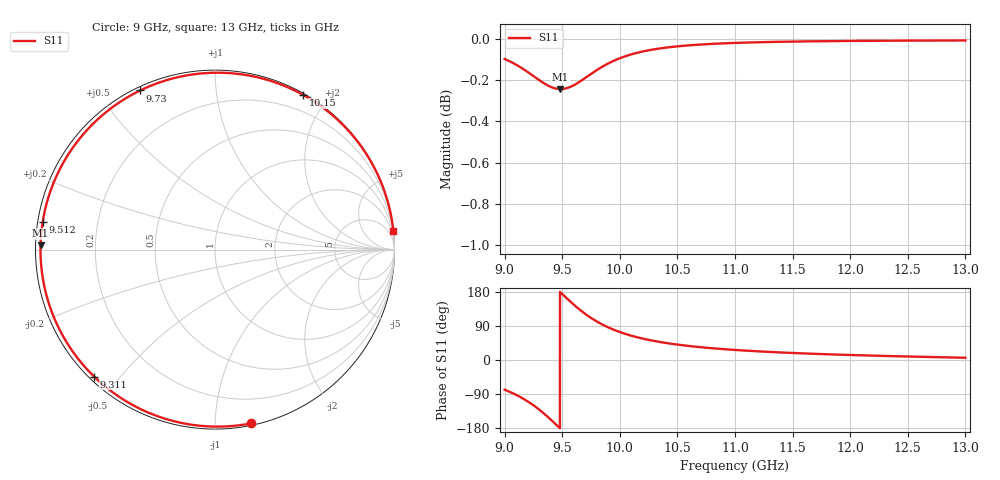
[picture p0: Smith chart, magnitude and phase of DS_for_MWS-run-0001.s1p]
! TOUCHSTONE file generated by CST DESIGN STUDIO
! Date and time: Tue Feb  4 12:20:43 2025
! Project name: C:\Work\MatlabApps\UnitCellOptimizationMatlab\CST\unitcell.cst
! Tree item: Tasks\Sweep1\SPara1\S-Parameters
! Header version: 2024
! Port assignment regex: !\s*Touchstone port\s*([0-9]+)\s*=\s*(CST MWS port|CST DES external port|CST DES block port)\s*(.+)\s* \(\"(.*)\"\)(\s*mode\s*([0-9]+))?.*
! Touchstone port assignment:
! Touchstone port 1 = CST DES external port 1 ("")
# GHz S MA R 50
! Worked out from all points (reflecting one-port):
!   4001 points, 9 GHz to 13 GHz, reference 50 ohm
!   lowest |S11| = -0.2 dB at 9.485 GHz (marker M1), VSWR 71.49, Z = 0.699 + j0.629 ohm
!   phase of S11 starts at -78 deg and turns -276 deg over the sweep
!   S11 on the Smith chart (normalised r, x): 9 GHz: 0.01, -1.23; 9.311 GHz: 0.01, -0.43; 9.512 GHz: 0.01, +0.08; 9.73 GHz: 0.01, +0.64; 10.15 GHz: 0.02, +1.72; 13 GHz: 0, +19
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9  0.9889 -78.4
9.078  0.9865 -88.6
9.177  0.9828 -104.8
9.246  0.9797 -118.6
9.311  0.9768 -133.6
9.357  0.975 -145.4
9.405  0.9735 -158.5
9.446  0.9727 -170.1
9.485  0.9724 178.6
9.5  0.9724 174.2
9.512  0.9725 170.7
9.565  0.9735 155.7
9.625  0.9754 139.6
9.677  0.9775 126.9
9.73  0.9798 115.1
9.785  0.9822 104.4
9.845  0.9846 94.1
9.921  0.9871 83.2
10  0.9893 73.8
10.147  0.9923 60.3
10.307  0.9944 49.8
10.5  0.9959 40.7
10.722  0.997 33.2
11  0.9979 26.5
11.5  0.9986 18.5
12  0.999 13.2
12.5  0.9991 9.2
13  0.9992 5.9
